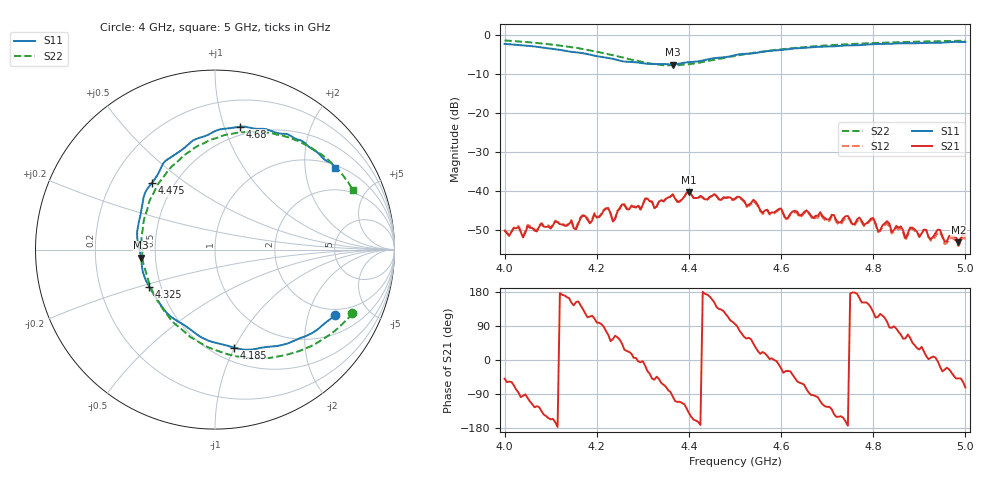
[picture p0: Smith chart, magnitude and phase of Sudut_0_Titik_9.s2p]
# Hz S RI R 50
! CMT, C1220, 16058040, 17.2.0/1
! Date: 15/08/2018 11:14:46
! Data: Format (Calibration Info)
! Freq  S11: Re/Im (F2)  S21: Re/Im (F2)  S12: Re/Im (F2)  S22: Re/Im (F2)
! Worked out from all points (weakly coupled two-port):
!   201 points, 4 GHz to 5 GHz, reference 50 ohm
!   highest |S21| = -40.40 dB at 4.4 GHz (marker M1); lowest = -53.2 dB at 4.985 GHz (marker M2)
!   lowest |S11| = -7.7 dB at 4.365 GHz (marker M3), VSWR 2.41, Z = 20.8 - j2.24 ohm
!   |S11| at or under -10 dB: nowhere
!   |S22| runs from -7.9 to -1.5 dB; largest |S21 - S12| = 0.00034
!   S11 on the Smith chart (normalised r, x): 4 GHz: 1.74, -3.01; 4.185 GHz: 0.63, -1.00; 4.325 GHz: 0.43, -0.22; 4.475 GHz: 0.38, +0.38; 4.68 GHz: 0.42, +1.13; 5 GHz: 1.11, +2.86
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4e9  0.6695 -0.3635  0.00201 -0.00233  0.00214 -0.00233  0.7655 -0.355
4.155e9  0.2128 -0.5555  -0.00286 0.00146  -0.00299 0.00149  0.3113 -0.6024
4.17e9  0.1586 -0.5569  -0.00333 0.00343  -0.00342 0.00349  0.2499 -0.6048
4.185e9  0.1064 -0.5463  -0.0016 0.00347  -0.00169 0.00355  0.1851 -0.6041
4.235e9  -0.0859 -0.4828  0.0023 0.00332  0.0023 0.00339  -0.033 -0.5462
4.255e9  -0.1601 -0.4285  0.00496 0.00453  0.00505 0.00464  -0.1168 -0.5
4.295e9  -0.2925 -0.322  0.00569 -0.000608  0.00578 -0.000745  -0.2639 -0.3655
4.305e9  -0.3167 -0.287  0.00754 -0.00205  0.00767 -0.00218  -0.2929 -0.3274
4.325e9  -0.3669 -0.2061  0.00368 -0.00472  0.00358 -0.00483  -0.3428 -0.2416
4.335e9  -0.3858 -0.17  0.00466 -0.00562  0.00454 -0.00574  -0.3633 -0.1967
4.365e9  -0.4115 -0.0447  -0.00105 -0.00886  -0.00115 -0.00898  -0.4034 -0.0529
4.4e9  -0.4335 0.1015  -0.00731 -0.00614  -0.00752 -0.00591  -0.4023 0.1154
4.475e9  -0.3506 0.3726  -0.00521 0.00642  -0.00501 0.00648  -0.2774 0.4175
4.5e9  -0.2999 0.4574  -0.000707 0.00793  -0.000616 0.0078  -0.2096 0.4904
4.67e9  0.1189 0.6823  -0.000233 -0.00446  -0.000272 -0.00424  0.2746 0.6532
4.68e9  0.1387 0.6857  -0.000703 -0.00472  -0.000671 -0.00446  0.297 0.6507
4.835e9  0.4493 0.6173  0.000264 0.00379  0.00019 0.00349  0.5923 0.5303
4.87e9  0.4994 0.5949  0.00134 0.00205  0.00119 0.00198  0.6397 0.4913
4.88e9  0.5132 0.5816  0.00175 0.00289  0.00161 0.00284  0.6513 0.4791
4.91e9  0.5618 0.5476  0.00292 0.00122  0.00293 0.00126  0.6868 0.4447
4.985e9  0.6542 0.4761  0.00145 -0.00164  0.0013 -0.00146  0.7573 0.3506
5e9  0.6661 0.4535  0.000786 -0.00251  0.000809 -0.00229  0.7695 0.3314
